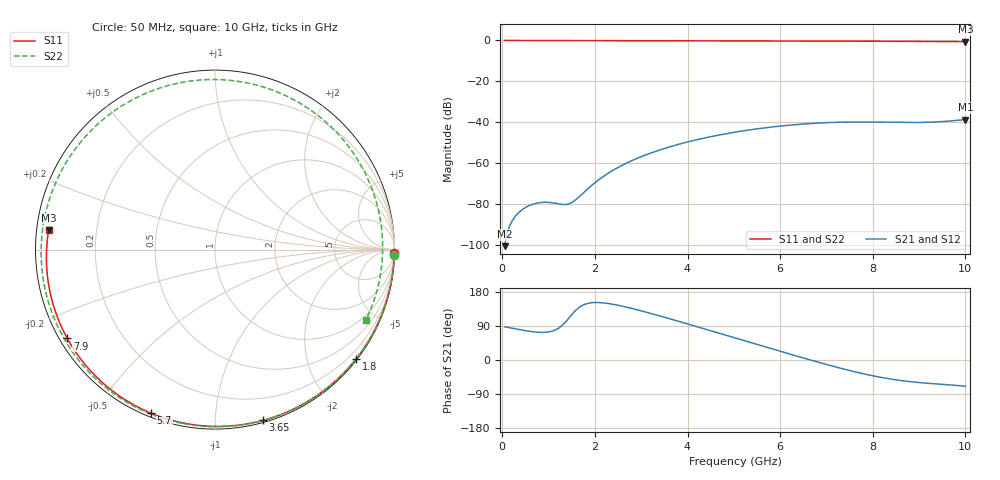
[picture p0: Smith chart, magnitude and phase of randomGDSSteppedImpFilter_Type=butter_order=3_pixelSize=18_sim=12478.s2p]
! freq	dB(S11)	phase(S11)	dB(S12)	phase(S12)
!  dB(S21)	phase(S21)	dB(S22)	phase(S22)
!S-par simulation data
#  GHz  S  DB  R 50
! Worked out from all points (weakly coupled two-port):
!   200 points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, 50 MHz to 10 GHz, reference 50 ohm
!   highest |S21| = -38.66 dB at 10 GHz (marker M1); lowest = -100.6 dB at 50 MHz (marker M2)
!   lowest |S11| = -0.6 dB at 10 GHz (marker M3), VSWR 28.91, Z = 1.74 + j2.95 ohm
!   |S11| at or under -10 dB: nowhere
!   |S22| runs from -0.6 to 0.0 dB; largest |S21 - S12| = 0
!   S11 on the Smith chart (normalised r, x): 50 MHz: open; 1.8 GHz: 0.03, -2.92; 3.65 GHz: 0.02, -1.32; 5.7 GHz: 0.02, -0.68; 7.9 GHz: 0.02, -0.28; 10 GHz: 0.03, +0.06
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0.05  -0.00 -1.1  -100.58 87.5  -100.58 87.5  -0.00 -1.8
0.7  -0.02 -14.9  -79.79 74.0  -79.79 74.0  -0.03 -24.6
1.4  -0.04 -29.6  -80.12 105.0  -80.12 105.0  -0.06 -48.8
1.55  -0.04 -32.7  -78.54 126.7  -78.54 126.7  -0.07 -53.9
1.75  -0.05 -36.8  -74.53 145.2  -74.53 145.2  -0.08 -60.6
1.8  -0.05 -37.8  -73.48 147.6  -73.48 147.6  -0.08 -62.3
2.15  -0.06 -44.9  -67.00 151.1  -67.00 151.1  -0.09 -74.0
2.5  -0.07 -51.9  -62.09 144.4  -62.09 144.4  -0.11 -85.6
3.4  -0.09 -69.5  -53.54 116.3  -53.54 116.3  -0.15 -114.8
3.65  -0.10 -74.3  -51.79 107.6  -51.79 107.6  -0.16 -122.9
4.4  -0.13 -88.2  -47.53 80.9  -47.53 80.9  -0.21 -147.5
5.05  -0.15 -99.9  -44.75 57.4  -44.75 57.4  -0.25 -169.7
5.7  -0.19 -111.3  -42.64 33.9  -42.64 33.9  -0.31 166.8
6.2  -0.22 -119.9  -41.42 16.0  -41.42 16.0  -0.35 147.4
6.7  -0.25 -128.5  -40.55 -1.6  -40.55 -1.6  -0.40 126.7
7.3  -0.30 -138.7  -39.97 -21.6  -39.97 -21.6  -0.45 99.9
7.9  -0.35 -149.0  -39.87 -39.1  -39.87 -39.1  -0.49 71.5
8.35  -0.40 -156.8  -40.01 -49.6  -40.01 -49.6  -0.52 49.7
8.75  -0.44 -163.8  -40.11 -56.4  -40.11 -56.4  -0.55 30.5
9.15  -0.49 -171.0  -40.02 -61.1  -40.02 -61.1  -0.57 11.8
9.55  -0.54 -178.3  -39.58 -64.7  -39.58 -64.7  -0.60 -6.1
10  -0.60 173.2  -38.66 -69.1  -38.66 -69.1  -0.65 -24.9
